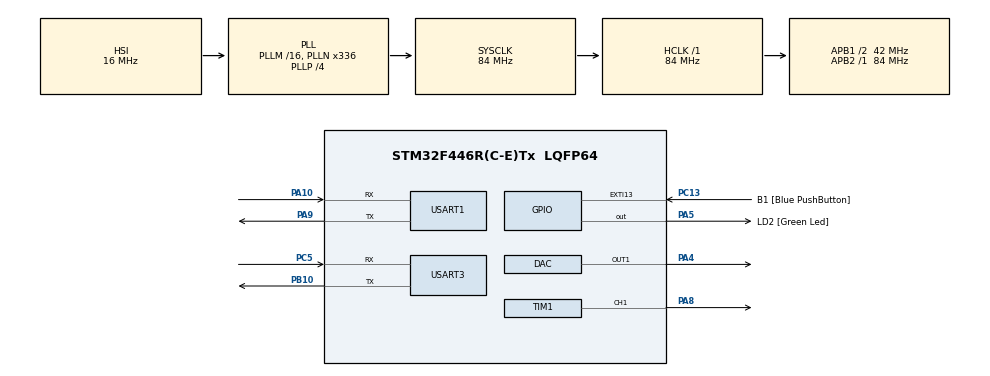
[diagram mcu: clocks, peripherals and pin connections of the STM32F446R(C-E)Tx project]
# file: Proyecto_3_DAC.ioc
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DAC.DAC_Trigger=DAC_TRIGGER_T6_TRGO
Dma.DAC1.0.Direction=DMA_MEMORY_TO_PERIPH
Dma.DAC1.0.FIFOMode=DMA_FIFOMODE_DISABLE
Dma.DAC1.0.Instance=DMA1_Stream5
Dma.DAC1.0.MemDataAlignment=DMA_MDATAALIGN_HALFWORD
Dma.DAC1.0.MemInc=DMA_MINC_ENABLE
Dma.DAC1.0.Mode=DMA_CIRCULAR
Dma.DAC1.0.PeriphDataAlignment=DMA_PDATAALIGN_HALFWORD
Dma.DAC1.0.PeriphInc=DMA_PINC_DISABLE
Dma.DAC1.0.Priority=DMA_PRIORITY_LOW
Dma.Request0=DAC1
Dma.Request1=TIM1_CH1
Dma.TIM1_CH1.1.Direction=DMA_MEMORY_TO_PERIPH
Dma.TIM1_CH1.1.FIFOMode=DMA_FIFOMODE_DISABLE
Dma.TIM1_CH1.1.Instance=DMA2_Stream1
Dma.TIM1_CH1.1.MemDataAlignment=DMA_MDATAALIGN_HALFWORD
Dma.TIM1_CH1.1.MemInc=DMA_MINC_ENABLE
Dma.TIM1_CH1.1.Mode=DMA_NORMAL
Dma.TIM1_CH1.1.PeriphDataAlignment=DMA_PDATAALIGN_HALFWORD
Dma.TIM1_CH1.1.PeriphInc=DMA_PINC_DISABLE
Dma.TIM1_CH1.1.Priority=DMA_PRIORITY_LOW
Mcu.Family=STM32F4
Mcu.Name=STM32F446R(C-E)Tx
Mcu.Package=LQFP64
NVIC.DMA1_Stream5_IRQn=true\:0\:0\:false\:false\:true\:false\:true\:true
NVIC.DMA2_Stream1_IRQn=true\:0\:0\:false\:false\:true\:false\:true\:true
NVIC.PriorityGroup=NVIC_PRIORITYGROUP_0
PA10.Mode=Asynchronous
PA10.Signal=USART1_RX
PA13.GPIO_Label=TMS
PA13.Signal=SYS_JTMS-SWDIO
PA14.GPIO_Label=TCK
PA14.Signal=SYS_JTCK-SWCLK
PA2.GPIO_Label=USART_TX
PA2.Signal=USART2_TX
PA3.GPIO_Label=USART_RX
PA3.Signal=USART2_RX
PA4.Signal=COMP_DAC1_group
PA5.GPIO_Label=LD2 [Green Led]
PA5.Signal=GPIO_Output
PA8.Signal=S_TIM1_CH1
PA9.Mode=Asynchronous
PA9.Signal=USART1_TX
PB10.Mode=Asynchronous
PB10.Signal=USART3_TX
PB3.GPIO_Label=SWO
PB3.Signal=SYS_JTDO-SWO
PC13.GPIO_Label=B1 [Blue PushButton]
PC13.GPIO_ModeDefaultEXTI=GPIO_MODE_IT_FALLING
PC13.Signal=GPXTI13
PC14-OSC32_IN.Signal=RCC_OSC32_IN
PC15-OSC32_OUT.Signal=RCC_OSC32_OUT
PC5.Mode=Asynchronous
PC5.Signal=USART3_RX
PH0-OSC_IN.Signal=RCC_OSC_IN
PH1-OSC_OUT.Signal=RCC_OSC_OUT
ProjectManager.HeapSize=0x200
ProjectManager.StackSize=0x400
ProjectManager.TargetToolchain=STM32CubeIDE
RCC.AHBFreq_Value=84000000
RCC.APB1CLKDivider=RCC_HCLK_DIV2
RCC.APB1Freq_Value=42000000
RCC.APB1TimFreq_Value=84000000
RCC.APB2Freq_Value=84000000
RCC.APB2TimFreq_Value=84000000
RCC.CortexFreq_Value=84000000
RCC.FLatency-AdvancedSettings=FLASH_LATENCY_2
RCC.HCLKFreq_Value=84000000
RCC.HSE_VALUE=8000000
RCC.HSI_VALUE=16000000
RCC.LSE_VALUE=32768
RCC.PLLN=336
RCC.PLLP=RCC_PLLP_DIV4
RCC.SYSCLKFreq_VALUE=84000000
RCC.SYSCLKSource=RCC_SYSCLKSOURCE_PLLCLK
RCC.USBFreq_Value=168000000
RCC.VCOOutputFreq_Value=336000000
SH.COMP_DAC1_group.0=DAC_OUT1,DAC_OUT1
SH.S_TIM1_CH1.0=TIM1_CH1,PWM Generation1 CH1
TIM1.Channel-PWM\ Generation1\ CH1=TIM_CHANNEL_1
TIM1.Period=104 
TIM6.Period=2624
TIM6.TIM_MasterOutputTrigger=TIM_TRGO_UPDATE
USART1.VirtualMode=VM_ASYNC
USART3.VirtualMode=VM_ASYNC
VP_TIM6_VS_ClockSourceINT.Mode=Enable_Timer
board=NUCLEO-F446RE

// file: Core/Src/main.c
/* USER CODE BEGIN Header */
/**
  ******************************************************************************
  * @file           : main.c
  * @brief          : Main program body
  ******************************************************************************
  * @attention
  *
  * Copyright (c) 2026 STMicroelectronics.
  * All rights reserved.
  *
  * This software is licensed under terms that can be found in the LICENSE file
  * in the root directory of this software component.
  * If no LICENSE file comes with this software, it is provided AS-IS.
  *
  ******************************************************************************
  */
/* USER CODE END Header */
#include "main.h"

DAC_HandleTypeDef hdac;
DMA_HandleTypeDef hdma_dac1;

TIM_HandleTypeDef htim1;
TIM_HandleTypeDef htim6;
DMA_HandleTypeDef hdma_tim1_ch1;

UART_HandleTypeDef huart1;
UART_HandleTypeDef huart3;

/* USER CODE BEGIN PV */

// Comando recibido del ESP32
uint8_t comandoUART;

// Almacena la respuesta de Nucleo 2
char temperaturaRecibida[20];

// Arreglo de pulsos para 1 NeoPixel:
// 24 bits de color + 64 periodos en bajo
uint16_t datosNeoPixel[88];

// Indica que termino la transferencia DMA
volatile uint8_t neoPixelTerminado = 0;

/* USER CODE END PV */

void SystemClock_Config(void);
static void MX_GPIO_Init(void);
static void MX_DMA_Init(void);
static void MX_DAC_Init(void);
static void MX_TIM6_Init(void);
static void MX_USART3_UART_Init(void);
static void MX_USART1_UART_Init(void);
static void MX_TIM1_Init(void);

/* USER CODE BEGIN 0 */

// Tabla de 32 muestras para generar una onda cuadrada
uint16_t ondaDAC[32];

// Prepara las muestras que enviara el DMA al DAC
void DAC_PrepararOnda(void)
{
    for (uint8_t i = 0; i < 32; i++)
    {
        if (i < 16)
            ondaDAC[i] = 4095;  // Nivel alto
        else
            ondaDAC[i] = 0;     // Nivel bajo
    }
}

// Reproduce una nota usando TIM6, DMA y DAC
void DAC_ReproducirTono(uint32_t frecuencia, uint32_t duracion)
{
    if (frecuencia == 0)
    {
        HAL_Delay(duracion);
        return;
    }

    // TIM6 funciona a 84 MHz en esta configuracion
    // Cada periodo de la onda contiene 32 muestras
    uint32_t tasaMuestras = frecuencia * 32U;
    uint32_t cuentas = (84000000U + tasaMuestras / 2U)
                       / tasaMuestras;

    // Configurar la frecuencia de actualizacion de TIM6
    __HAL_TIM_SET_AUTORELOAD(&htim6, cuentas - 1U);
    __HAL_TIM_SET_COUNTER(&htim6, 0);

    // Iniciar la transferencia circular mediante DMA
    if (HAL_DAC_Start_DMA(&hdac, DAC_CHANNEL_1,
                          (uint32_t *)ondaDAC, 32,
                          DAC_ALIGN_12B_R) != HAL_OK)
    {
        Error_Handler();
    }

    // Activar TIM6 para actualizar el DAC
    if (HAL_TIM_Base_Start(&htim6) != HAL_OK)
    {
        Error_Handler();
    }

    // Mantener la nota durante el tiempo solicitado
    HAL_Delay(duracion);

    // Detener la generacion del sonido
    HAL_TIM_Base_Stop(&htim6);
    HAL_DAC_Stop_DMA(&hdac, DAC_CHANNEL_1);
    HAL_DAC_Stop(&hdac, DAC_CHANNEL_1);
}
// Sonido 1: lectura realizada
void Sonido_Lectura(void)
{
    // Primer pitido corto
    DAC_ReproducirTono(1000, 80);
    HAL_Delay(60);

    // Segundo pitido corto
    DAC_ReproducirTono(1000, 80);
    HAL_Delay(60);

    // Tercer pitido un poco mas largo
    DAC_ReproducirTono(1000, 160);
}
 // Sonido 2: guardado correcto
 void Sonido_Guardado(void)
 {
     // Primera nota
     DAC_ReproducirTono(784, 120);
     HAL_Delay(70);

     // Segunda nota, mas aguda
     DAC_ReproducirTono(1047, 120);
     HAL_Delay(70);

     // Tercera nota de confirmacion
     DAC_ReproducirTono(1319, 300);
 }
// Melodia original de inicio de VitaCheck
void Sonido_Inicio(void)
{
    DAC_ReproducirTono(523, 500);
    HAL_Delay(165);

    DAC_ReproducirTono(659, 500);
    HAL_Delay(165);

    DAC_ReproducirTono(784, 700);
    HAL_Delay(165);

    DAC_ReproducirTono(1047, 800);
    HAL_Delay(165);

    DAC_ReproducirTono(784, 500);
    HAL_Delay(165);

    DAC_ReproducirTono(659, 500);
    HAL_Delay(165);

    DAC_ReproducirTono(523, 500);

}
    // Enviar un color al NeoPixel mediante TIM1 y DMA
    void NeoPixel_Color(uint8_t rojo,
                       uint8_t verde,
                       uint8_t azul)
    {
        // WS2812B utiliza el orden GRB
        uint32_t color = ((uint32_t)verde << 16) |
                         ((uint32_t)rojo << 8) |
                         azul;

        // Preparar los 24 bits del color
        for (uint8_t i = 0; i < 24; i++)
        {
            // Comprobar si el bit es 1 o 0
            if (color & (1UL << (23 - i)))
            {
                datosNeoPixel[i] = 67;  // Bit 1
            }
            else
            {
                datosNeoPixel[i] = 34;  // Bit 0
            }
        }

        // Agregar 64 periodos en bajo para el reset
        for (uint8_t i = 24; i < 88; i++)
        {
            datosNeoPixel[i] = 0;
        }

        // Preparar la señal de finalizacion
        neoPixelTerminado = 0;

        // Iniciar PWM con DMA por TIM1_CH1
        if (HAL_TIM_PWM_Start_DMA(&htim1,
                                 TIM_CHANNEL_1,
                                 (uint32_t *)datosNeoPixel,
                                 88) != HAL_OK)
        {
            Error_Handler();
        }

        // Esperar a que termine la transferencia
        uint32_t inicio = HAL_GetTick();

        while (!neoPixelTerminado)
        {
            // Evitar espera infinita por un error DMA
            if ((HAL_GetTick() - inicio) > 50)
            {
                HAL_TIM_PWM_Stop_DMA(&htim1, TIM_CHANNEL_1);
                Error_Handler();
            }
        }

        // Detener PWM al terminar la trama
        HAL_TIM_PWM_Stop_DMA(&htim1, TIM_CHANNEL_1);

        // Mantener la salida PWM en nivel bajo
        __HAL_TIM_SET_COMPARE(&htim1, TIM_CHANNEL_1, 0);

        // Dar tiempo para actualizar el color
        HAL_Delay(1);
    }

/* USER CODE END 0 */

int main(void)
{

  /* MCU Configuration--------------------------------------------------------*/

  /* Reset of all peripherals, Initializes the Flash interface and the Systick. */
  HAL_Init();

  /* Configure the system clock */
  SystemClock_Config();

  /* Initialize all configured peripherals */
  MX_GPIO_Init();
  MX_DMA_Init();
  MX_DAC_Init();
  MX_TIM6_Init();
  MX_USART3_UART_Init();
  MX_USART1_UART_Init();
  MX_TIM1_Init();

  /* USER CODE BEGIN 2 */

  // Preparar las muestras de la onda
  DAC_PrepararOnda();

  // Sistema encendido y en espera
  NeoPixel_Color(0, 0, 150);  // Azul

  /* USER CODE END 2 */

  /* Infinite loop */
  while (1)
  {

    /* USER CODE BEGIN 3 */

      // Recibir comando del ESP32 mediante USART1
      if (HAL_UART_Receive(&huart1, &comandoUART, 1, 10) == HAL_OK)
      {
    	  if (comandoUART == 'T')
    	  {
    	      uint8_t respuesta;
    	      uint8_t solicitud = 'R';
    	      uint8_t dato;
    	      uint8_t indice = 0;

    	      // Reproducir sonido al iniciar la lectura
    	      Sonido_Lectura();

    	      // AMARILLO: adquisicion de temperatura
    	      NeoPixel_Color(80, 80, 0);

    	      // Solicitar medicion a Nucleo 2
    	      HAL_StatusTypeDef envio =
    	          HAL_UART_Transmit(&huart3, &comandoUART, 1, 100);

    	      if (envio == HAL_OK &&
    	          HAL_UART_Receive(&huart3, &respuesta, 1, 1500) == HAL_OK &&
    	          respuesta == 'A')
    	      {
    	          // MORADO: iniciar transmision de datos
    	          NeoPixel_Color(60, 0, 80);

    	          // Solicitar el resultado de la medicion
    	          if (HAL_UART_Transmit(&huart3, &solicitud, 1, 100) == HAL_OK)
    	          {
    	              uint32_t inicio = HAL_GetTick();

    	              // Recibir la temperatura hasta salto de linea
    	              while ((HAL_GetTick() - inicio) < 1500)
    	              {
    	                  if (HAL_UART_Receive(&huart3, &dato, 1, 20) == HAL_OK)
    	                  {
    	                      if (dato == '\n')
    	                      {
    	                          break;
    	                      }

    	                      if (dato != '\r' &&
    	                          indice < sizeof(temperaturaRecibida) - 1)
    	                      {
    	                          temperaturaRecibida[indice++] = dato;
    	                      }
    	                  }
    	              }
    	          }

    	          temperaturaRecibida[indice] = '\0';

    	          if (indice > 0)
    	          {
    	              // Enviar resultado al ESP32
    	              HAL_UART_Transmit(&huart1,
    	                                (uint8_t *)temperaturaRecibida,
    	                                indice, 100);

    	              uint8_t salto = '\n';
    	              HAL_UART_Transmit(&huart1, &salto, 1, 100);
    	              HAL_Delay(500);  // Mantener el morado visible 500 ms
    	          }
    	          else
    	          {
    	              uint8_t error[] = "SIN RESPUESTA NUCLEO 2\n";
    	              HAL_UART_Transmit(&huart1, error,
    	                                sizeof(error) - 1, 100);
    	          }
    	      }
    	      else
    	      {
    	          // No se pudo completar la adquisicion
    	          uint8_t error[] = "ERROR ADQUISICION\n";

    	          HAL_UART_Transmit(&huart1, error,
    	                            sizeof(error) - 1, 100);
    	      }

    	      // AZUL: regresar al estado de espera
    	      NeoPixel_Color(0, 0, 150);
    	  }

    	  // G: solicitar guardado de temperatura en la SD
    	        else if (comandoUART == 'G')
    	        {
    	            uint8_t confirmacion = 0;

    	            // Enviar comando G a Nucleo 2 por USART3
    	            if (HAL_UART_Transmit(&huart3, &comandoUART,
    	                                  1, 100) == HAL_OK)
    	            {
    	                // Esperar respuesta de Nucleo 2
    	                if (HAL_UART_Receive(&huart3, &confirmacion,
    	                                     1, 1500) == HAL_OK &&
    	                    confirmacion == 'K')
    	                {
    	                    // VERDE: guardado exitoso en SD
    	                    NeoPixel_Color(0, 80, 0);

    	                    // Reproducir sonido de confirmacion
    	                    Sonido_Guardado();

    	                    // Informar al ESP32 que se guardo
    	                    HAL_UART_Transmit(&huart1,
    	                                      &confirmacion, 1, 100);
    	                }
    	                else
    	                {
    	                    // Error al guardar en SD
    	                    uint8_t error[] = "ERROR GUARDADO\n";

    	                    HAL_UART_Transmit(&huart1, error,
    	                                      sizeof(error) - 1, 100);
    	                }
    	            }
    	            else
    	            {
    	                // Error al enviar el comando a Nucleo 2
    	                uint8_t error[] = "ERROR UART NUCLEO 2\n";

    	                HAL_UART_Transmit(&huart1, error,
    	                                  sizeof(error) - 1, 100);
    	            }

    	            // AZUL: regresar al estado de espera
    	            NeoPixel_Color(0, 0, 150);
    	        }

          // I: melodia de inicio
          else if (comandoUART == 'I')
          {
              Sonido_Inicio();

              // Confirmar comando al ESP32
              HAL_UART_Transmit(&huart1, &comandoUART, 1, 100);
          }
      }

  }
  /* USER CODE END 3 */
}

void SystemClock_Config(void)
{
  RCC_OscInitTypeDef RCC_OscInitStruct = {0};
  RCC_ClkInitTypeDef RCC_ClkInitStruct = {0};

  /** Configure the main internal regulator output voltage
  */
  __HAL_RCC_PWR_CLK_ENABLE();
  __HAL_PWR_VOLTAGESCALING_CONFIG(PWR_REGULATOR_VOLTAGE_SCALE3);

  /** Initializes the RCC Oscillators according to the specified parameters
  * in the RCC_OscInitTypeDef structure.
  */
  RCC_OscInitStruct.OscillatorType = RCC_OSCILLATORTYPE_HSI;
  RCC_OscInitStruct.HSIState = RCC_HSI_ON;
  RCC_OscInitStruct.HSICalibrationValue = RCC_HSICALIBRATION_DEFAULT;
  RCC_OscInitStruct.PLL.PLLState = RCC_PLL_ON;
  RCC_OscInitStruct.PLL.PLLSource = RCC_PLLSOURCE_HSI;
  RCC_OscInitStruct.PLL.PLLM = 16;
  RCC_OscInitStruct.PLL.PLLN = 336;
  RCC_OscInitStruct.PLL.PLLP = RCC_PLLP_DIV4;
  RCC_OscInitStruct.PLL.PLLQ = 2;
  RCC_OscInitStruct.PLL.PLLR = 2;
  if (HAL_RCC_OscConfig(&RCC_OscInitStruct) != HAL_OK)
  {
    Error_Handler();
  }

  /** Initializes the CPU, AHB and APB buses clocks
  */
  RCC_ClkInitStruct.ClockType = RCC_CLOCKTYPE_HCLK|RCC_CLOCKTYPE_SYSCLK
                              |RCC_CLOCKTYPE_PCLK1|RCC_CLOCKTYPE_PCLK2;
  RCC_ClkInitStruct.SYSCLKSource = RCC_SYSCLKSOURCE_PLLCLK;
  RCC_ClkInitStruct.AHBCLKDivider = RCC_SYSCLK_DIV1;
  RCC_ClkInitStruct.APB1CLKDivider = RCC_HCLK_DIV2;
  RCC_ClkInitStruct.APB2CLKDivider = RCC_HCLK_DIV1;

  if (HAL_RCC_ClockConfig(&RCC_ClkInitStruct, FLASH_LATENCY_2) != HAL_OK)
  {
    Error_Handler();
  }
}

static void MX_DAC_Init(void)
{

  DAC_ChannelConfTypeDef sConfig = {0};

  /** DAC Initialization
  */
  hdac.Instance = DAC;
  if (HAL_DAC_Init(&hdac) != HAL_OK)
  {
    Error_Handler();
  }

  /** DAC channel OUT1 config
  */
  sConfig.DAC_Trigger = DAC_TRIGGER_T6_TRGO;
  sConfig.DAC_OutputBuffer = DAC_OUTPUTBUFFER_ENABLE;
  if (HAL_DAC_ConfigChannel(&hdac, &sConfig, DAC_CHANNEL_1) != HAL_OK)
  {
    Error_Handler();
  }

}

static void MX_TIM1_Init(void)
{

  TIM_MasterConfigTypeDef sMasterConfig = {0};
  TIM_OC_InitTypeDef sConfigOC = {0};
  TIM_BreakDeadTimeConfigTypeDef sBreakDeadTimeConfig = {0};

  htim1.Instance = TIM1;
  htim1.Init.Prescaler = 0;
  htim1.Init.CounterMode = TIM_COUNTERMODE_UP;
  htim1.Init.Period = 104 ;
  htim1.Init.ClockDivision = TIM_CLOCKDIVISION_DIV1;
  htim1.Init.RepetitionCounter = 0;
  htim1.Init.AutoReloadPreload = TIM_AUTORELOAD_PRELOAD_DISABLE;
  if (HAL_TIM_PWM_Init(&htim1) != HAL_OK)
  {
    Error_Handler();
  }
  sMasterConfig.MasterOutputTrigger = TIM_TRGO_RESET;
  sMasterConfig.MasterSlaveMode = TIM_MASTERSLAVEMODE_DISABLE;
  if (HAL_TIMEx_MasterConfigSynchronization(&htim1, &sMasterConfig) != HAL_OK)
  {
    Error_Handler();
  }
  sConfigOC.OCMode = TIM_OCMODE_PWM1;
  sConfigOC.Pulse = 0;
  sConfigOC.OCPolarity = TIM_OCPOLARITY_HIGH;
  sConfigOC.OCNPolarity = TIM_OCNPOLARITY_HIGH;
  sConfigOC.OCFastMode = TIM_OCFAST_DISABLE;
  sConfigOC.OCIdleState = TIM_OCIDLESTATE_RESET;
  sConfigOC.OCNIdleState = TIM_OCNIDLESTATE_RESET;
  if (HAL_TIM_PWM_ConfigChannel(&htim1, &sConfigOC, TIM_CHANNEL_1) != HAL_OK)
  {
    Error_Handler();
  }
  sBreakDeadTimeConfig.OffStateRunMode = TIM_OSSR_DISABLE;
  sBreakDeadTimeConfig.OffStateIDLEMode = TIM_OSSI_DISABLE;
  sBreakDeadTimeConfig.LockLevel = TIM_LOCKLEVEL_OFF;
  sBreakDeadTimeConfig.DeadTime = 0;
  sBreakDeadTimeConfig.BreakState = TIM_BREAK_DISABLE;
  sBreakDeadTimeConfig.BreakPolarity = TIM_BREAKPOLARITY_HIGH;
  sBreakDeadTimeConfig.AutomaticOutput = TIM_AUTOMATICOUTPUT_DISABLE;
  if (HAL_TIMEx_ConfigBreakDeadTime(&htim1, &sBreakDeadTimeConfig) != HAL_OK)
  {
    Error_Handler();
  }
  HAL_TIM_MspPostInit(&htim1);

}

static void MX_TIM6_Init(void)
{

  TIM_MasterConfigTypeDef sMasterConfig = {0};

  htim6.Instance = TIM6;
  htim6.Init.Prescaler = 0;
  htim6.Init.CounterMode = TIM_COUNTERMODE_UP;
  htim6.Init.Period = 2624;
  htim6.Init.AutoReloadPreload = TIM_AUTORELOAD_PRELOAD_DISABLE;
  if (HAL_TIM_Base_Init(&htim6) != HAL_OK)
  {
    Error_Handler();
  }
  sMasterConfig.MasterOutputTrigger = TIM_TRGO_UPDATE;
  sMasterConfig.MasterSlaveMode = TIM_MASTERSLAVEMODE_DISABLE;
  if (HAL_TIMEx_MasterConfigSynchronization(&htim6, &sMasterConfig) != HAL_OK)
  {
    Error_Handler();
  }

}

static void MX_USART1_UART_Init(void)
{

  huart1.Instance = USART1;
  huart1.Init.BaudRate = 115200;
  huart1.Init.WordLength = UART_WORDLENGTH_8B;
  huart1.Init.StopBits = UART_STOPBITS_1;
  huart1.Init.Parity = UART_PARITY_NONE;
  huart1.Init.Mode = UART_MODE_TX_RX;
  huart1.Init.HwFlowCtl = UART_HWCONTROL_NONE;
  huart1.Init.OverSampling = UART_OVERSAMPLING_16;
  if (HAL_UART_Init(&huart1) != HAL_OK)
  {
    Error_Handler();
  }

}

static void MX_USART3_UART_Init(void)
{

  huart3.Instance = USART3;
  huart3.Init.BaudRate = 115200;
  huart3.Init.WordLength = UART_WORDLENGTH_8B;
  huart3.Init.StopBits = UART_STOPBITS_1;
  huart3.Init.Parity = UART_PARITY_NONE;
  huart3.Init.Mode = UART_MODE_TX_RX;
  huart3.Init.HwFlowCtl = UART_HWCONTROL_NONE;
  huart3.Init.OverSampling = UART_OVERSAMPLING_16;
  if (HAL_UART_Init(&huart3) != HAL_OK)
  {
    Error_Handler();
  }

}

static void MX_DMA_Init(void)
{

  /* DMA controller clock enable */
  __HAL_RCC_DMA1_CLK_ENABLE();
  __HAL_RCC_DMA2_CLK_ENABLE();

  /* DMA interrupt init */
  /* DMA1_Stream5_IRQn interrupt configuration */
  HAL_NVIC_SetPriority(DMA1_Stream5_IRQn, 0, 0);
  HAL_NVIC_EnableIRQ(DMA1_Stream5_IRQn);
  /* DMA2_Stream1_IRQn interrupt configuration */
  HAL_NVIC_SetPriority(DMA2_Stream1_IRQn, 0, 0);
  HAL_NVIC_EnableIRQ(DMA2_Stream1_IRQn);

}

static void MX_GPIO_Init(void)
{
  GPIO_InitTypeDef GPIO_InitStruct = {0};

  /* GPIO Ports Clock Enable */
  __HAL_RCC_GPIOC_CLK_ENABLE();
  __HAL_RCC_GPIOH_CLK_ENABLE();
  __HAL_RCC_GPIOA_CLK_ENABLE();
  __HAL_RCC_GPIOB_CLK_ENABLE();

  /*Configure GPIO pin Output Level */
  HAL_GPIO_WritePin(LD2_GPIO_Port, LD2_Pin, GPIO_PIN_RESET);

  /*Configure GPIO pin : B1_Pin */
  GPIO_InitStruct.Pin = B1_Pin;
  GPIO_InitStruct.Mode = GPIO_MODE_IT_FALLING;
  GPIO_InitStruct.Pull = GPIO_NOPULL;
  HAL_GPIO_Init(B1_GPIO_Port, &GPIO_InitStruct);

  /*Configure GPIO pins : USART_TX_Pin USART_RX_Pin */
  GPIO_InitStruct.Pin = USART_TX_Pin|USART_RX_Pin;
  GPIO_InitStruct.Mode = GPIO_MODE_AF_PP;
  GPIO_InitStruct.Pull = GPIO_NOPULL;
  GPIO_InitStruct.Speed = GPIO_SPEED_FREQ_VERY_HIGH;
  GPIO_InitStruct.Alternate = GPIO_AF7_USART2;
  HAL_GPIO_Init(GPIOA, &GPIO_InitStruct);

  /*Configure GPIO pin : LD2_Pin */
  GPIO_InitStruct.Pin = LD2_Pin;
  GPIO_InitStruct.Mode = GPIO_MODE_OUTPUT_PP;
  GPIO_InitStruct.Pull = GPIO_NOPULL;
  GPIO_InitStruct.Speed = GPIO_SPEED_FREQ_LOW;
  HAL_GPIO_Init(LD2_GPIO_Port, &GPIO_InitStruct);

}

/* USER CODE BEGIN 4 */

// Se ejecuta cuando termina la transferencia PWM por DMA
void HAL_TIM_PWM_PulseFinishedCallback(TIM_HandleTypeDef *htim)
{
    // Verificar que termino TIM1 Channel 1
    if (htim->Instance == TIM1 &&
        htim->Channel == HAL_TIM_ACTIVE_CHANNEL_1)
    {
        neoPixelTerminado = 1;
    }
}

/* USER CODE END 4 */

void Error_Handler(void)
{
  __disable_irq();
  while (1)
  {
  }
}
